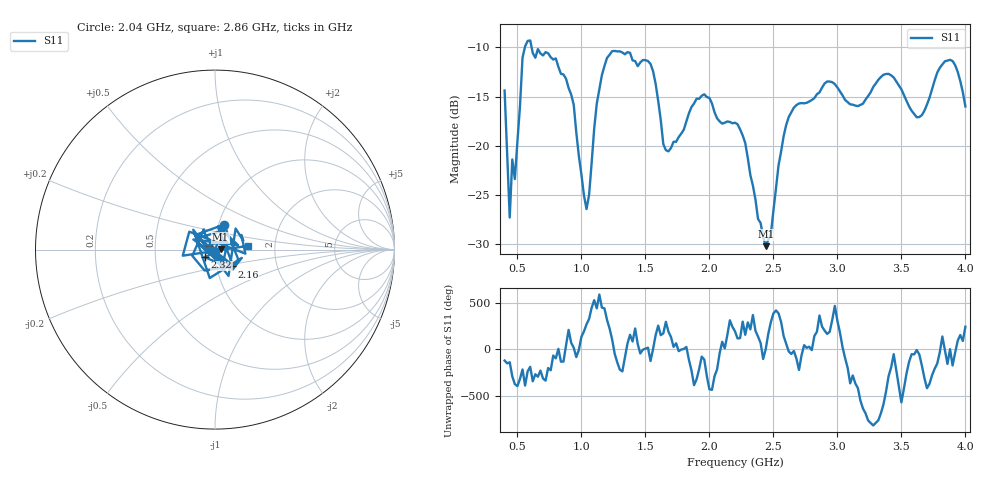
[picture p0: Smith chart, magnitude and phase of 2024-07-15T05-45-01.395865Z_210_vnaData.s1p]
!Created with skrf (http://scikit-rf.org).
# Hz S RI R 50.0
!freq ReS11 ImS11
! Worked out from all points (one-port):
!   181 points, 400 MHz to 4 GHz, reference 50 ohm
!   lowest |S11| = -30.2 dB at 2.44 GHz (marker M1), VSWR 1.06, Z = 53.2 + j0.198 ohm
!   |S11| at or under -10 dB: start of sweep to 558.2 MHz; 611 MHz to end of sweep
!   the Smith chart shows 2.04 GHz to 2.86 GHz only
!   S11 on the Smith chart (normalised r, x): 2.04 GHz: 1.06, +0.30; 2.16 GHz: 1.18, -0.23; 2.32 GHz: 0.89, -0.08; 2.86 GHz: 1.45, +0.06
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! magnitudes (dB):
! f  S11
! 400 MHz  -14.4
! 440 MHz  -27.3
! 460 MHz  -21.4
! 480 MHz  -23.4
! 540 MHz  -11.0
! 560 MHz  -9.9
! 860 MHz  -12.8
! 940 MHz  -15.8
! 1.04 GHz  -26.4
! 1.16 GHz  -12.8
! 1.3 GHz  -10.4
! 1.54 GHz  -11.7
! 1.64 GHz  -19.8
! 1.76 GHz  -19.1
! 1.9 GHz  -15.2
! 2.04 GHz  -16.6
! 2.16 GHz  -17.6
! 2.2 GHz  -17.7
! 2.32 GHz  -23.0
! 2.44 GHz  -30.2
! 2.66 GHz  -16.1
! 2.86 GHz  -14.6
! 3.1 GHz  -15.8
! 3.4 GHz  -12.7
! 3.56 GHz  -16.0
! 3.66 GHz  -16.9
! 3.88 GHz  -11.3
! 4 GHz  -16.0
